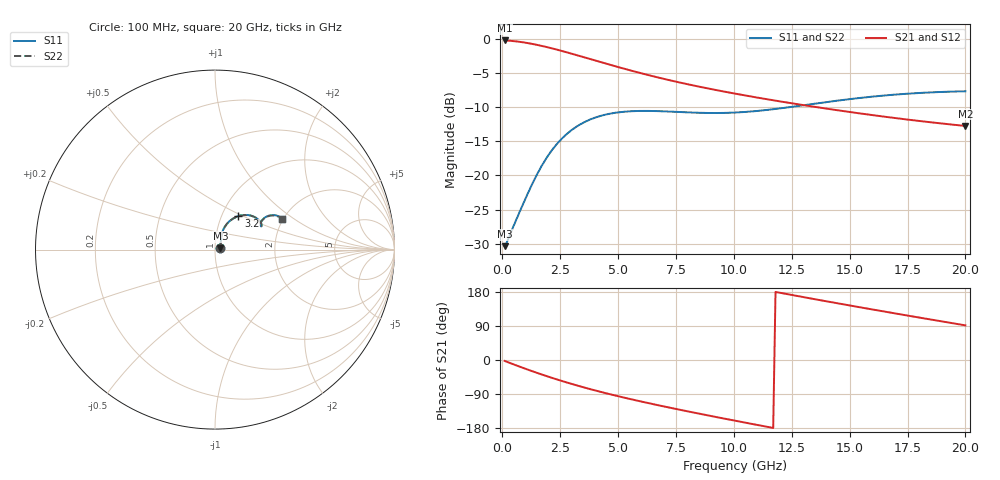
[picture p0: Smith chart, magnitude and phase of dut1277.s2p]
! Touchstone file exported from HFSS 2024.1.0
!  File:  C:/UserFiles/LocalFiles/RDL_TSV_Batchsim/temp_RDL_TSV_1277_1780276264.aedt
!  Generated:  09:32:59 AM Jun  1, 2026
!  Design:  RDL_TSV
!  Project:  temp_RDL_TSV_1277_1780276264
!  Setup:  Setup1
!  Solution:  Sweep
! Variables:
!  dtsv = 9.65um
!  hbump = 3um
!  htsv = 88.11um
!  ldown = 664.54um
!  lrdl = 446.52um
!  p = 40
!  p1 = 58.45um
!  rhole = 10um
!  subl = 3779.7um
!  t = 450um
!  tdown = 2.38um
!  trdl = 2.3um
!  viad = 10um
!  wdown = 20.55um
!  wrdl = 17.79um
!  xbump = 18um
# GHz S MA R 50.000000
! Terminal data exported
! Port[1] = TM1_1_T1
! Port[2] = TM1_4_T1
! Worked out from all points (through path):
!   200 points, 100 MHz to 20 GHz, reference 50 ohm
!   highest |S21| = -0.27 dB at 100 MHz (marker M1); lowest = -12.8 dB at 20 GHz (marker M2)
!   group delay of S21, straight-line fit = 35.1 ps
!   lowest |S11| = -30.3 dB at 100 MHz (marker M3), VSWR 1.06, Z = 53.1 + j0.66 ohm
!   |S11| at or under -10 dB: start of sweep to 12.44 GHz
!   |S22| runs from -30.3 to -7.7 dB; largest |S21 - S12| = 8.8e-15
!   S11 on the Smith chart (normalised r, x): 100 MHz: 1.06, +0.01; 3.2 GHz: 1.20, +0.47; 20 GHz: 1.98, +0.81
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0.1  0.03043 11.8  0.9698 -2.4  0.9698 -2.4  0.03043 11.8
! Gamma 0 0 0 0
! Port Impedance 50 0 50 0
0.4  0.03934 37.0  0.9628 -9.5  0.9628 -9.5  0.03935 37.0
0.8  0.05672 54.8  0.9454 -18.7  0.9454 -18.7  0.05673 54.7
1.2  0.08031 64.2  0.9215 -27.6  0.9215 -27.6  0.08027 64.1
1.6  0.1096 67.4  0.8929 -36.1  0.8929 -36.1  0.1095 67.3
2  0.1415 66.5  0.8611 -44.3  0.8611 -44.3  0.1413 66.5
2.4  0.173 63.5  0.8275 -52.1  0.8275 -52.1  0.1728 63.5
2.8  0.202 59.5  0.7931 -59.6  0.7931 -59.6  0.2017 59.5
3.2  0.2271 55.2  0.7589 -66.8  0.7589 -66.8  0.2268 55.1
3.5  0.2431 51.9  0.7337 -71.9  0.7337 -71.9  0.2428 51.8
4.3  0.2741 43.8  0.6701 -85.0  0.6701 -85.0  0.2737 43.7
5.1  0.2904 37.2  0.6133 -97.0  0.6133 -97.0  0.29 37.1
5.9  0.2961 32.2  0.5639 -108.3  0.5639 -108.3  0.2957 32.1
6.8  0.295 28.6  0.5165 -120.3  0.5165 -120.3  0.2946 28.5
8.4  0.2874 26.7  0.4493 -140.4  0.4493 -140.4  0.2871 26.6
10.1  0.2886 28.9  0.395 -160.7  0.395 -160.7  0.2881 28.7
11.6  0.3034 31.4  0.3567 -178.1  0.3567 -178.1  0.3028 31.2
13.4  0.3329 32.7  0.319 161.5  0.319 161.5  0.332 32.5
15  0.3613 31.9  0.291 143.9  0.291 143.9  0.3601 31.6
16.7  0.3867 29.6  0.2662 125.7  0.2662 125.7  0.3852 29.4
18.3  0.4032 27.0  0.2469 108.9  0.2469 108.9  0.4014 26.8
20  0.4123 24.4  0.2301 91.4  0.2301 91.4  0.4104 24.2
